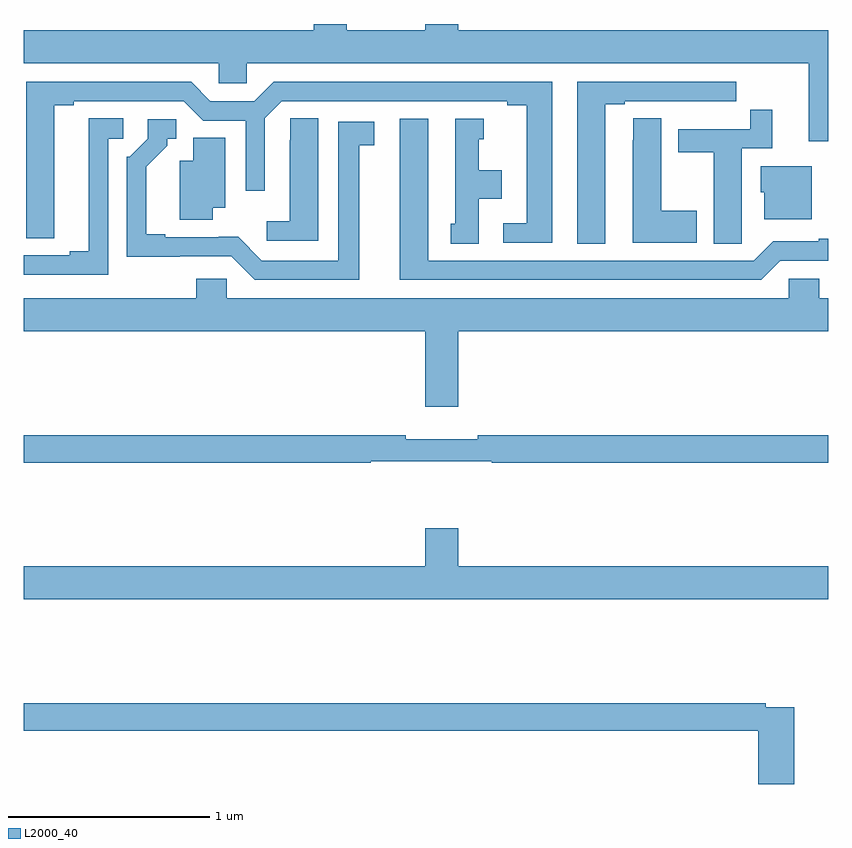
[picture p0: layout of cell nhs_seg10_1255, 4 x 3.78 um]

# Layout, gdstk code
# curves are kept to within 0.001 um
import gdstk
lib = gdstk.Library(unit=1e-6, precision=1e-09)
def P(c, l, *ps):  # polygons
    for p in ps: c.add(gdstk.Polygon(p, *l))
L2000_40 = (2000, 40)

nhs_seg10_1255 = lib.new_cell('nhs_seg10_1255')
P(nhs_seg10_1255, L2000_40, [(178.998,1312.208),(179,1312.208),(179,1312.468),(177.16,1312.468),(177.16,1312.5),(176.996,1312.5),(176.996,1312.468),(176.605,1312.468),(176.605,1312.5),(176.441,1312.5),(176.441,1312.468),(175,1312.468),(175,1312.304),(175.971,1312.304),(175.971,1312.206),(176.109,1312.206),(176.109,1312.304),(178.901,1312.304),(178.901,1311.918),(178.998,1311.918)],
  [(177.892,1312.101),(177.988,1312.101),(177.988,1312.116),(178.264,1312.116),(178.264,1312.115),(178.43,1312.115),(178.43,1312.116),(178.543,1312.116),(178.543,1312.212),(177.752,1312.212),(177.752,1311.409),(177.892,1311.409)],
  [(177.628,1312.212),(176.243,1312.212),(176.147,1312.116),(175.929,1312.116),(175.833,1312.212),(175.013,1312.212),(175.014,1311.436),(175.153,1311.436),(175.153,1312.096),(175.249,1312.096),(175.249,1312.116),(175.797,1312.116),(175.893,1312.02),(176.103,1312.02),(176.103,1311.672),(176.199,1311.672),(176.199,1312.032),(176.283,1312.116),(177.404,1312.116),(177.404,1312.096),(177.5,1312.096),(177.5,1311.51),(177.384,1311.51),(177.384,1311.414),(177.628,1311.414)],
  [(178.569,1311.52),(178.57,1311.52),(178.57,1311.882),(178.721,1311.882),(178.721,1312.075),(178.612,1312.075),(178.612,1311.978),(178.253,1311.978),(178.253,1311.862),(178.43,1311.862),(178.43,1311.409),(178.569,1311.409)],
  [(175.422,1311.93),(175.495,1311.93),(175.495,1312.031),(175.325,1312.031),(175.325,1311.371),(175.229,1311.371),(175.229,1311.351),(175,1311.351),(175,1311.255),(175.422,1311.255)],
  [(176.464,1312.031),(176.325,1312.031),(176.325,1311.923),(176.324,1311.923),(176.324,1311.52),(176.208,1311.52),(176.208,1311.423),(176.464,1311.423)],
  [(178.345,1311.573),(178.168,1311.573),(178.168,1312.031),(178.029,1312.031),(178.029,1311.923),(178.028,1311.923),(178.028,1311.413),(178.345,1311.413)],
  [(178.761,1311.324),(179,1311.324),(179,1311.433),(178.952,1311.433),(178.952,1311.42),(178.725,1311.42),(178.629,1311.324),(177.01,1311.324),(177.01,1312.03),(176.87,1312.03),(176.87,1311.228),(178.665,1311.228)],
  [(177.262,1311.632),(177.376,1311.632),(177.376,1311.772),(177.262,1311.772),(177.262,1311.927),(177.286,1311.927),(177.286,1312.03),(177.146,1312.03),(177.146,1311.507),(177.122,1311.507),(177.122,1311.409),(177.262,1311.409)],
  [(176.668,1311.898),(176.743,1311.898),(176.743,1312.014),(176.564,1312.014),(176.564,1311.324),(176.184,1311.324),(176.066,1311.442),(175.705,1311.441),(175.705,1311.454),(175.609,1311.454),(175.609,1311.79),(175.714,1311.895),(175.714,1311.93),(175.759,1311.93),(175.759,1312.026),(175.617,1312.026),(175.617,1311.93),(175.527,1311.84),(175.512,1311.84),(175.512,1311.344),(176.031,1311.345),(176.148,1311.228),(176.668,1311.228)],
  [(175.939,1311.587),(176.002,1311.587),(176.002,1311.935),(175.844,1311.935),(175.844,1311.82),(175.775,1311.82),(175.775,1311.526),(175.939,1311.526)],
  [(178.918,1311.793),(178.664,1311.793),(178.664,1311.663),(178.682,1311.663),(178.682,1311.53),(178.918,1311.53)],
  [(177.16,1310.972),(179,1310.972),(179,1311.136),(178.955,1311.136),(178.955,1311.234),(178.803,1311.234),(178.803,1311.136),(176.01,1311.136),(176.01,1311.234),(175.859,1311.234),(175.859,1311.136),(175,1311.136),(175,1310.972),(176.996,1310.972),(176.996,1310.598),(177.16,1310.598)],
  [(176.726,1310.328),(177.326,1310.328),(177.326,1310.32),(179,1310.32),(179,1310.456),(177.256,1310.456),(177.256,1310.437),(176.9,1310.437),(176.9,1310.456),(175,1310.456),(175,1310.32),(176.726,1310.32)],
  [(179,1309.804),(177.16,1309.804),(177.16,1309.993),(176.996,1309.993),(176.996,1309.804),(175,1309.804),(175,1309.64),(179,1309.64)],
  [(178.83,1309.104),(178.688,1309.104),(178.688,1309.124),(175,1309.124),(175,1308.988),(178.652,1308.988),(178.652,1308.723),(178.83,1308.723)])

lib.write_gds('nhs_seg10_1255.gds')
